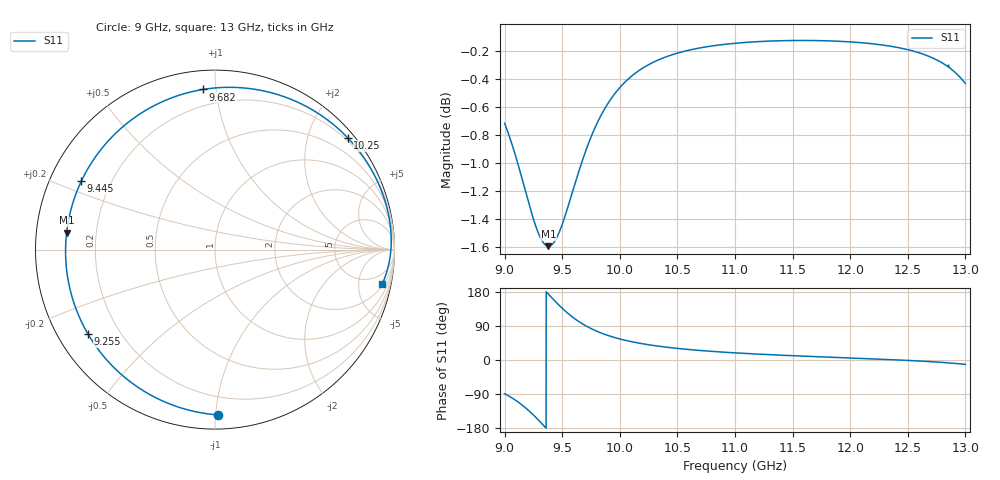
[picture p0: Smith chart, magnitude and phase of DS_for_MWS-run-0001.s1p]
! TOUCHSTONE file generated by CST DESIGN STUDIO
! Date and time: Tue Feb  4 17:36:17 2025
! Project name: C:\Work\MatlabApps\UnitCellOptimizationMatlab\CST\unitcell.cst
! Tree item: Tasks\Sweep1\SPara1\S-Parameters
! Header version: 2024
! Port assignment regex: !\s*Touchstone port\s*([0-9]+)\s*=\s*(CST MWS port|CST DES external port|CST DES block port)\s*(.+)\s* \(\"(.*)\"\)(\s*mode\s*([0-9]+))?.*
! Touchstone port assignment:
! Touchstone port 1 = CST DES external port 1 ("")
# GHz S MA R 50
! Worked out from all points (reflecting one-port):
!   4001 points, 9 GHz to 13 GHz, reference 50 ohm
!   lowest |S11| = -1.6 dB at 9.381 GHz (marker M1), VSWR 10.91, Z = 4.6 + j2.83 ohm
!   phase of S11 starts at -89 deg and turns -283 deg over the sweep
!   S11 on the Smith chart (normalised r, x): 9 GHz: 0.08, -1.01; 9.255 GHz: 0.09, -0.30; 9.445 GHz: 0.09, +0.24; 9.682 GHz: 0.10, +0.92; 10.25 GHz: 0.14, +2.74; 13 GHz: 2.30, -9.30
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9  0.9209 -89.0
9.019  0.9165 -92.1
9.072  0.9029 -101.6
9.136  0.8844 -115.1
9.196  0.8662 -129.9
9.255  0.8496 -146.5
9.32  0.8365 -166.7
9.381  0.832 173.5
9.445  0.8368 153.0
9.5  0.8471 136.5
9.543  0.8577 124.8
9.586  0.8693 114.1
9.632  0.8818 104.0
9.682  0.8948 94.2
9.757  0.912 81.9
9.833  0.9263 71.8
9.913  0.9383 63.2
10  0.9485 55.5
10.117  0.9586 47.4
10.253  0.9668 40.1
10.5  0.9758 30.6
10.724  0.9805 24.5
11  0.9838 18.8
11.5  0.9861 11.4
12  0.985 5.3
12.5  0.9786 -1.1
12.772  0.9694 -5.7
13  0.9516 -11.6
